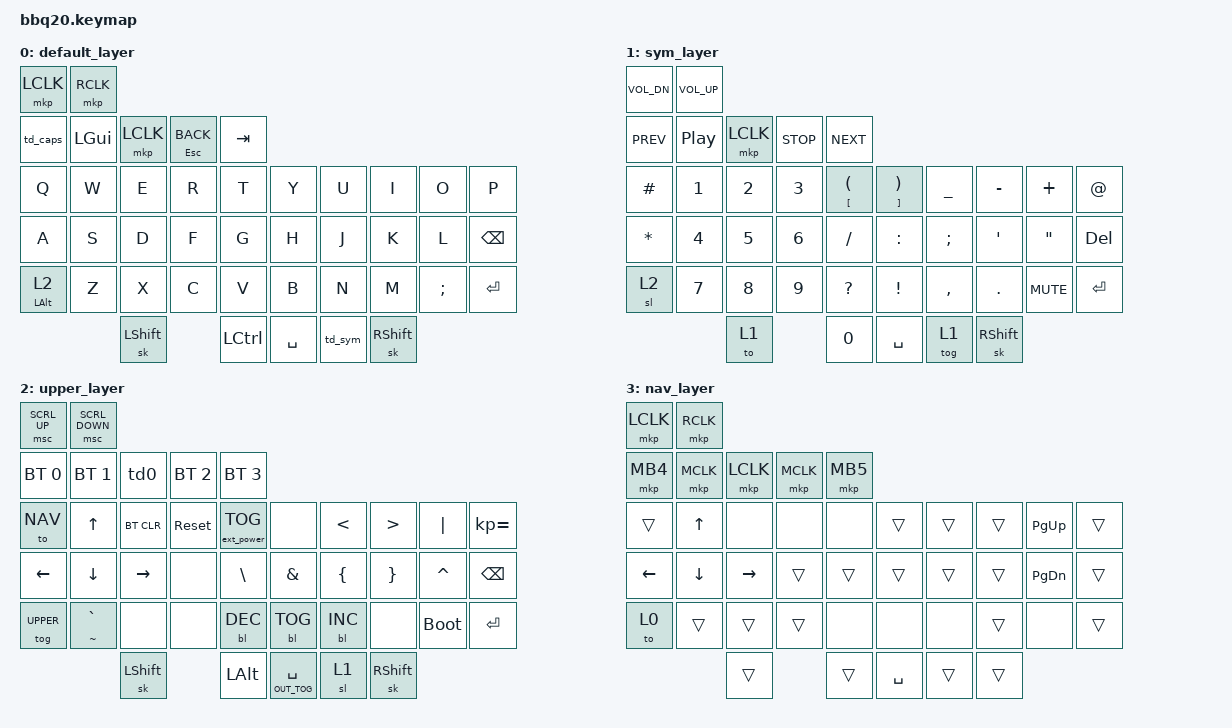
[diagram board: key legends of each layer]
/*
 * Customized by WisdomWolf
 */

#include <dt-bindings/zmk/mouse.h>
#include <behaviors.dtsi>
#include <dt-bindings/zmk/backlight.h>
#include <dt-bindings/zmk/bt.h>
#include <dt-bindings/zmk/ext_power.h>
#include <dt-bindings/zmk/keys.h>
#include <dt-bindings/zmk/outputs.h>
#include <dt-bindings/zmk/pointing.h>

#define SYM 1
#define UPPER 2
#define NAV 3

&sl { release-after-ms = <10000>; };

/ {
    behaviors {
        td0: tap_dance_0 {
            compatible = "zmk,behavior-tap-dance";
            #binding-cells = <0>;
            tapping-term-ms = <400>;
            bindings = <&mkp LCLK>, <&bt BT_CLR>;
        };

        hm: homerow_mods {
            compatible = "zmk,behavior-hold-tap";
            #binding-cells = <2>;
            tapping-term-ms = <500>;
            bindings = <&out &kp>;
        };

        ht_alt: ht_alt {
            compatible = "zmk,behavior-hold-tap";
            label = "HT_ALT";
            bindings = <&kp>, <&sl>;

            #binding-cells = <2>;
            tapping-term-ms = <200>;
        };

        td_caps: tap_dance_caps {
            compatible = "zmk,behavior-tap-dance";
            #binding-cells = <0>;
            tapping-term-ms = <300>;
            bindings = <&caps_word>, <&kp CLCK>;
        };

        td_sym: tap_dance_sym {
            compatible = "zmk,behavior-tap-dance";
            #binding-cells = <0>;
            tapping-term-ms = <200>;
            bindings = <&sl SYM>, <&tog SYM>;
        };

        td_upper: tap_dance_upper {
            compatible = "zmk,behavior-tap-dance";
            #binding-cells = <0>;
            tapping-term-ms = <200>;
            bindings = <&sl UPPER>, <&tog UPPER>;
        };
    };

    combos {
        compatible = "zmk,combos";

        combo_upper {
            timeout-ms = <50>;
            //Q & P to toggle layer
            key-positions = <7 16>;
            bindings = <&tog NAV>;
        };
    };

    keymap {
        compatible = "zmk,keymap";

        default_layer {
            bindings = <
&mkp LCLK           &mkp RCLK
&td_caps            &kp LGUI   &mkp LCLK   &mt ESC K_BACK  &kp TAB
&kp Q               &kp W      &kp E       &kp R           &kp T      &kp Y        &kp U    &kp I       &kp O     &kp P
&kp A               &kp S      &kp D       &kp F           &kp G      &kp H        &kp J    &kp K       &kp L     &kp BSPC
&ht_alt LEFT_ALT 2  &kp Z      &kp X       &kp C           &kp V      &kp B        &kp N    &kp M       &kp SEMI  &kp ENTER
                               &sk LSHIFT                  &kp LCTRL  &kp SPACE    &td_sym  &sk RSHIFT
            >;
        };

        sym_layer {
            bindings = <
&kp C_VOL_DN  &kp C_VOL_UP
&kp C_PREV    &kp C_PLAY_PAUSE  &mkp LCLK  &kp C_STOP  &kp C_NEXT
&kp HASH      &kp N1            &kp N2     &kp N3      &mt LBKT LPAR  &mt RBKT RPAR    &kp UNDER  &kp MINUS   &kp PLUS    &kp AT
&kp STAR      &kp N4            &kp N5     &kp N6      &kp SLASH      &kp COLON        &kp SEMI   &kp APOS    &kp DQT     &kp DEL
&sl 2         &kp N7            &kp N8     &kp N9      &kp QMARK      &kp EXCL         &kp COMMA  &kp DOT     &kp C_MUTE  &kp ENTER
                                &to 1                  &kp N0         &kp SPACE        &tog 1     &sk RSHIFT
            >;
        };

        upper_layer {
            bindings = <
&msc SCRL_UP  &msc SCRL_DOWN
&bt BT_SEL 0  &bt BT_SEL 1     &td0        &bt BT_SEL 2  &bt BT_SEL 3
&to NAV       &kp UP           &bt BT_CLR  &sys_reset    &ext_power EP_TOG  &none                &kp LT      &kp GT      &kp PIPE     &kp KP_EQUAL
&kp LEFT      &kp DOWN         &kp RIGHT   &none         &kp BSLH           &kp AMPS             &kp LBRC    &kp RBRC    &kp CARET    &kp BSPC
&tog UPPER    &mt TILDE GRAVE  &none       &none         &bl BL_DEC         &bl BL_TOG           &bl BL_INC  &none       &bootloader  &kp ENTER
                               &sk LSHIFT                &kp LALT           &hm OUT_TOG SPACE    &sl 1       &sk RSHIFT
            >;
        };

        nav_layer {
            bindings = <
&mkp LCLK  &mkp RCLK
&mkp MB4   &mkp MCLK  &mkp LCLK  &mkp MCLK  &mkp MB5
&trans     &kp UP     &none      &none      &none     &trans       &trans  &trans  &kp PG_UP  &trans
&kp LEFT   &kp DOWN   &kp RIGHT  &trans     &trans    &trans       &trans  &trans  &kp PG_DN  &trans
&to 0      &trans     &trans     &trans     &none     &none        &none   &trans  &none      &trans
                      &trans                &trans    &kp SPACE    &trans  &trans
            >;
        };
    };
};
